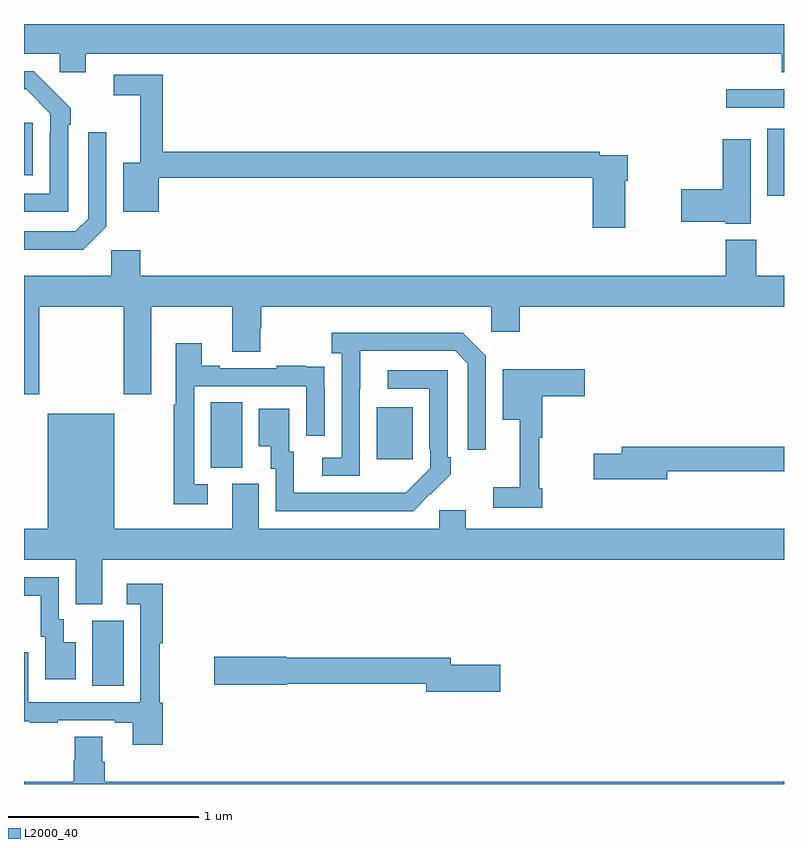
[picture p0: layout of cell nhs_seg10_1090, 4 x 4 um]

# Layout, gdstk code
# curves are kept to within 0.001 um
import gdstk
lib = gdstk.Library(unit=1e-6, precision=1e-09)
def R(c, l, rs):  # rectangles x0, y0, x1, y1
    for r in rs: c.add(gdstk.rectangle(r[:2], r[2:], *l))
def P(c, l, *ps):  # polygons
    for p in ps: c.add(gdstk.Polygon(p, *l))
L2000_40 = (2000, 40)

nhs_seg10_1090 = lib.new_cell('nhs_seg10_1090')
R(nhs_seg10_1090, L2000_40, [(167.36,1269.016,167.524,1269.36), (167.984,1270.165,168.148,1270.508), (168.857,1270.209,169.045,1270.483), (170.912,1271.597,171,1271.95), (167,1271.705,167.047,1271.98), (170.697,1272.06,171,1272.156)])
P(nhs_seg10_1090, L2000_40, [(171,1272.5),(167,1272.5),(167,1272.344),(167.187,1272.344),(167.187,1272.246),(167.326,1272.246),(167.326,1272.344),(170.987,1272.344),(170.987,1272.245),(171,1272.245)],
  [(167.232,1271.969),(167.247,1271.969),(167.247,1272.057),(167.05,1272.252),(167,1272.252),(167,1272.156),(167.011,1272.156),(167.139,1272.027),(167.139,1271.927),(167.136,1271.927),(167.136,1271.607),(167,1271.607),(167,1271.511),(167.232,1271.511)],
  [(170.164,1271.675),(170.177,1271.675),(170.177,1271.808),(170.03,1271.808),(170.03,1271.828),(167.729,1271.828),(167.729,1272.234),(167.472,1272.234),(167.472,1272.126),(167.612,1272.126),(167.612,1271.77),(167.522,1271.77),(167.522,1271.513),(167.709,1271.513),(167.709,1271.692),(169.994,1271.692),(169.994,1271.427),(170.164,1271.427)],
  [(167.433,1271.433),(167.433,1271.929),(167.337,1271.929),(167.337,1271.475),(167.271,1271.409),(167,1271.409),(167,1271.312),(167.312,1271.312)],
  [(170.824,1271.893),(170.678,1271.893),(170.678,1271.63),(170.46,1271.63),(170.46,1271.459),(170.694,1271.459),(170.694,1271.45),(170.824,1271.45)],
  [(167.079,1271.012),(167.524,1271.012),(167.524,1270.551),(167.671,1270.551),(167.671,1271.012),(168.095,1271.012),(168.095,1270.774),(168.243,1270.774),(168.243,1270.899),(168.248,1270.899),(168.248,1271.012),(169.458,1271.012),(169.458,1270.881),(169.61,1270.881),(169.61,1271.012),(171,1271.012),(171,1271.176),(170.853,1271.176),(170.853,1271.365),(170.693,1271.365),(170.693,1271.176),(167.612,1271.176),(167.612,1271.308),(167.46,1271.308),(167.46,1271.176),(167,1271.176),(167,1270.551),(167.079,1270.551)],
  [(168.768,1270.579),(168.769,1270.779),(169.269,1270.779),(169.335,1270.713),(169.335,1270.26),(169.431,1270.26),(169.431,1270.755),(169.31,1270.876),(168.621,1270.876),(168.621,1270.766),(168.672,1270.766),(168.672,1270.218),(168.57,1270.218),(168.57,1270.122),(168.768,1270.122)],
  [(167.968,1270.077),(167.895,1270.077),(167.895,1270.593),(168.486,1270.593),(168.486,1270.332),(168.582,1270.332),(168.582,1270.586),(168.581,1270.586),(168.581,1270.695),(168.479,1270.695),(168.479,1270.702),(168.331,1270.702),(168.331,1270.689),(168.031,1270.689),(168.031,1270.702),(167.935,1270.702),(167.935,1270.819),(167.799,1270.819),(167.799,1270.496),(167.787,1270.496),(167.787,1269.972),(167.968,1269.972)],
  [(169.727,1270.057),(169.712,1270.057),(169.712,1270.322),(169.727,1270.322),(169.727,1270.541),(169.951,1270.541),(169.951,1270.683),(169.52,1270.683),(169.52,1270.418),(169.61,1270.418),(169.61,1270.063),(169.47,1270.063),(169.47,1269.954),(169.727,1269.954)],
  [(169.139,1270.027),(169.14,1270.026),(169.245,1270.131),(169.245,1270.219),(169.23,1270.219),(169.23,1270.677),(168.915,1270.677),(168.915,1270.581),(169.134,1270.581),(169.134,1270.261),(169.137,1270.261),(169.137,1270.161),(169.009,1270.033),(168.421,1270.032),(168.421,1270.248),(168.397,1270.248),(168.397,1270.474),(168.236,1270.474),(168.236,1270.277),(168.299,1270.277),(168.299,1270.158),(168.324,1270.158),(168.324,1269.936),(169.048,1269.936)],
  [(167.413,1269.68),(171,1269.68),(171,1269.844),(169.324,1269.844),(169.324,1269.942),(169.185,1269.942),(169.185,1269.844),(168.235,1269.844),(168.235,1270.08),(168.095,1270.08),(168.095,1269.844),(167.476,1269.844),(167.476,1270.45),(167.126,1270.45),(167.126,1269.844),(167,1269.844),(167,1269.68),(167.273,1269.68),(167.273,1269.445),(167.413,1269.445)],
  [(170.386,1270.146),(171,1270.146),(171,1270.274),(170.147,1270.274),(170.147,1270.238),(169.998,1270.238),(169.998,1270.103),(170.386,1270.103)],
  [(167.272,1269.247),(167.209,1269.247),(167.209,1269.366),(167.184,1269.366),(167.184,1269.588),(167,1269.588),(167,1269.492),(167.087,1269.492),(167.087,1269.276),(167.111,1269.276),(167.111,1269.051),(167.272,1269.051)],
  [(167.729,1268.928),(167.714,1268.928),(167.714,1269.24),(167.729,1269.24),(167.729,1269.553),(167.541,1269.553),(167.541,1269.447),(167.613,1269.447),(167.613,1268.931),(167.022,1268.931),(167.022,1269.193),(167,1269.193),(167,1268.829),(167.029,1268.829),(167.029,1268.823),(167.177,1268.823),(167.177,1268.835),(167.477,1268.835),(167.477,1268.823),(167.573,1268.823),(167.573,1268.706),(167.729,1268.706)],
  [(169.507,1269.128),(169.246,1269.128),(169.246,1269.164),(168.384,1269.164),(168.384,1269.17),(168,1269.17),(168,1269.023),(168.384,1269.023),(168.384,1269.028),(169.118,1269.028),(169.118,1268.986),(169.507,1268.986)],
  [(171,1268.512),(167.426,1268.512),(167.426,1268.618),(167.413,1268.618),(167.413,1268.75),(167.266,1268.75),(167.266,1268.625),(167.261,1268.625),(167.261,1268.512),(167,1268.512),(167,1268.5),(171,1268.5)])

lib.write_gds('nhs_seg10_1090.gds')
